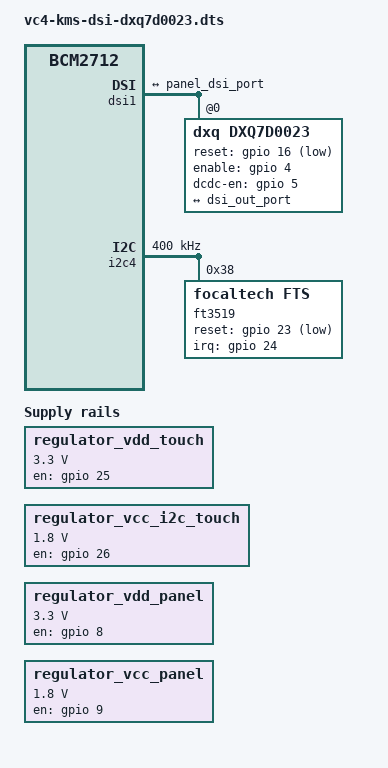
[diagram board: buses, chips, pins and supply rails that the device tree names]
// csvke: reference the correct I2C node from the device tree of your raspberry pi, for example in Raspberry Pi 5, it is i2c6 for MIPI0 and i2c5 for MIPI1, https://github.com/raspberrypi/linux/blob/rpi-6.6.y/arch/arm64/boot/dts/broadcom/bcm2712-rpi-5-b.dts#L261
// compile: dtc -I dts -O dtb -o vc4-kms-dsi-dxq7d0023.dtbo vc4-kms-dsi-dxq7d0023.dts
// copy dtbo to overlays: sudo cp vc4-kms-dsi-dxq7d0023.dtbo /boot/overlays/

/dts-v1/;
/plugin/;

/ {
    compatible = "brcm,bcm2712"; // RPi5 = "brcm,bcm2712"

    fragment@0 {
        target = <&dsi1>; 
        __overlay__ {
            status = "okay";
            #address-cells= <1>;
            #size-cells = <0>;
            port {
                dsi_out_port: endpoint {
                    remote-endpoint = <&panel_dsi_port>;
                }; 
            };
            
            dxq7d0023: dxq7d0023@0 {
                compatible = "dxq,dxq7d0023";  //csvke: reference the correct compatible string from panel-chipone-icna3512.c of_device_id icna3512_of_match[]
                status = "okay";
                reg = <0>;
                reset-gpios = <&gpio 16 1>; // csvke: Adjust GPIO pin as needed, // cskve, pin 28 on fpc breakout board on orange dupont wire
                enable-gpios  = <&gpio 4 0>;    // LCD Enable
                dcdc-en-gpios = <&gpio 5 0>;    // LCD DC-DC Enable                
                // backlight = <&backlight>; csvke: WIP: Have not worked out on how to control backlight or if AMOLED control brightness that way
                // vddi-supply = <&regulator_vdd_panel>; // csvke: reference as VBAT in DXQ7D0023 datasheet, and more info in ICNA3512 datasheet page 13
                // vci-supply = <&regulator_vcc_panel>; // csvke: reference as VDDIO in DXQ7D0023 datasheet, and more info in ICNA3512 datasheet page 13
                port {
                    panel_dsi_port: endpoint {
                        remote-endpoint = <&dsi_out_port>;
                    };
                };
            };
        };
    };

    /* This is for the drive being developed */
    fragment@1 {
        target = <&i2c4>;
        __overlay__ {
            #address-cells = <1>;
            #size-cells = <0>;
            status = "okay";
            clock-frequency = <400000>;

            ft3519: ft3519@38 {
                compatible = "focaltech,fts";
                reg = <0x38>;
                defer-probe;
                interrupt-parent = <&gpio>;
                interrupts = <24 0x02>; /* GPIO24, falling edge */
                focaltech,display-coords = <0 0 1080 1920>;
                // focaltech,have-key = <0>; // WIP: Have not worked out what it does
                focaltech,reset-gpio = <&gpio 23 0x01>; /* GPIO23 for reset */
                focaltech,irq-gpio = <&gpio 24 0x02>;   /* GPIO24 for interrupt */
                // focaltech,key-number = <3>;  /* Optional: Number of virtual keys */
                // focaltech,keys = <KEY_VOLUMEUP KEY_VOLUMEDOWN KEY_HOME>; /* Example keys */
                // focaltech,key-x-coords = <100 200 300>; /* Example X coordinates */
                // focaltech,key-y-coords = <1800 1800 1800>; /* Example Y coordinates */
                // focaltech,dvdd-gpio = <&gpio 25 0>;  /* GPIO25 for DVDD */
                focaltech,max-touch-number = <10>;
                // vdd-supply = <&regulator_vdd_touch>;
                // vcc_i2c-supply = <&regulator_vcc_i2c_touch>;
                status = "okay";
            };
        };
    };

    // /* This is for the dummy driver */
    // fragment@1 {
    //     target = <&i2c4>; // Adjust this to the correct I2C bus
    //     __overlay__ {
    //         #address-cells = <1>;
    //         #size-cells = <0>;
    //         status = "okay";
    //         ft3519: ft3519@38 {
    //             compatible = "focaltech,test"; // csvke: this is a test driver
    //             reg = <0x38>;
    //             /* Focaltech GPIO Configuration */
    //             interrupt-parent = <&gpio>;
    //             interrupts = <24 2>; // GPIO24, falling edge
    //             focaltech,display-coords =  <0 0 1080 1920>;
    //             focaltech,have-key = <0>; // WIP: Have not worked out what it does
    //             reset-gpio = <&gpio 23 0>; // GPIO23 for reset
    //             irq-gpio = <&gpio 24 0>; // GPIO24 for interrupt
    //             focaltech,max-touch-number = <10>;
    //             vdd-supply = <&regulator_vdd_touch>; // Regulator for VDD
    //             vcc_i2c-supply = <&regulator_vcc_i2c_touch>; // Regulator for VCC_I2C
    //             // focaltech,tp_rst_high;
    //             status = "okay";
    //         };
    //     };
    // };

    fragment@2 {
        target-path = "/";
        __overlay__ {
            regulator_vdd_touch: regulator-vdd-touch {
                compatible = "regulator-fixed";
                regulator-name = "vdd_touch";
                regulator-min-microvolt = <3300000>;
                regulator-max-microvolt = <3300000>;
                gpio = <&gpio 25 0>;
                enable-active-high;
            };

            regulator_vcc_i2c_touch: regulator-vcc-i2c-touch {
                compatible = "regulator-fixed";
                regulator-name = "vcc_i2c_touch";
                regulator-min-microvolt = <1800000>;
                regulator-max-microvolt = <1800000>;
                gpio = <&gpio 26 0>;
                enable-active-high;
            };
        };
    };

    // Add panel regulators here if needed
    fragment@3 {
        target-path = "/";
        __overlay__ {
            // Example panel regulator definitions
            regulator_vdd_panel: regulator-vdd-panel {
                compatible = "regulator-fixed";
                regulator-name = "vdd_panel";
                regulator-min-microvolt = <3300000>;
                regulator-max-microvolt = <3300000>;
                gpio = <&gpio 8 0>;
                enable-active-high;
            };

            regulator_vcc_panel: regulator-vcc-panel {
                compatible = "regulator-fixed";
                regulator-name = "vcc_panel";
                regulator-min-microvolt = <1800000>;
                regulator-max-microvolt = <1800000>;
                gpio = <&gpio 9 0>;
                enable-active-high;
            };
        };
    };
};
